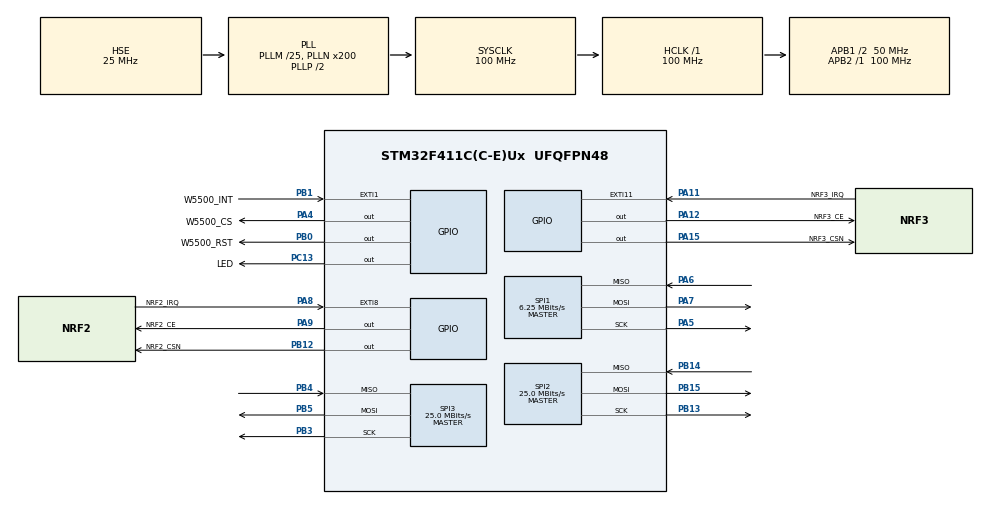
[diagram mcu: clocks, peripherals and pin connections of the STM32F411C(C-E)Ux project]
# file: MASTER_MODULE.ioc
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Mcu.Family=STM32F4
Mcu.Name=STM32F411C(C-E)Ux
Mcu.Package=UFQFPN48
NVIC.EXTI1_IRQn=true\:0\:0\:false\:false\:true\:true\:true\:true
NVIC.PriorityGroup=NVIC_PRIORITYGROUP_4
NVIC.TIM2_IRQn=true\:0\:0\:false\:false\:true\:true\:true\:true
PA11.GPIO_Label=NRF3_IRQ
PA11.GPIO_ModeDefaultEXTI=GPIO_MODE_IT_FALLING
PA11.Signal=GPXTI11
PA12.GPIO_Label=NRF3_CE
PA12.GPIO_Speed=GPIO_SPEED_FREQ_HIGH
PA12.Signal=GPIO_Output
PA13.Mode=Serial_Wire
PA13.Signal=SYS_JTMS-SWDIO
PA14.Mode=Serial_Wire
PA14.Signal=SYS_JTCK-SWCLK
PA15.GPIO_Label=NRF3_CSN
PA15.PinState=GPIO_PIN_SET
PA15.Signal=GPIO_Output
PA4.GPIO_Label=W5500_CS
PA4.GPIO_Speed=GPIO_SPEED_FREQ_VERY_HIGH
PA4.PinState=GPIO_PIN_SET
PA4.Signal=GPIO_Output
PA5.Mode=Full_Duplex_Master
PA5.Signal=SPI1_SCK
PA6.Mode=Full_Duplex_Master
PA6.Signal=SPI1_MISO
PA7.Mode=Full_Duplex_Master
PA7.Signal=SPI1_MOSI
PA8.GPIO_Label=NRF2_IRQ
PA8.GPIO_ModeDefaultEXTI=GPIO_MODE_IT_FALLING
PA8.Signal=GPXTI8
PA9.GPIO_Label=NRF2_CE
PA9.GPIO_Speed=GPIO_SPEED_FREQ_HIGH
PA9.PinState=GPIO_PIN_RESET
PA9.Signal=GPIO_Output
PB0.GPIO_Label=W5500_RST
PB0.PinState=GPIO_PIN_SET
PB0.Signal=GPIO_Output
PB1.GPIO_Label=W5500_INT
PB1.GPIO_ModeDefaultEXTI=GPIO_MODE_IT_FALLING
PB1.GPIO_PuPd=GPIO_PULLUP
PB1.Signal=GPXTI1
PB12.GPIO_Label=NRF2_CSN
PB12.GPIO_Speed=GPIO_SPEED_FREQ_HIGH
PB12.Signal=GPIO_Output
PB13.Mode=Full_Duplex_Master
PB13.Signal=SPI2_SCK
PB14.Mode=Full_Duplex_Master
PB14.Signal=SPI2_MISO
PB15.Mode=Full_Duplex_Master
PB15.Signal=SPI2_MOSI
PB3.Mode=Full_Duplex_Master
PB3.Signal=SPI3_SCK
PB4.Mode=Full_Duplex_Master
PB4.Signal=SPI3_MISO
PB5.Mode=Full_Duplex_Master
PB5.Signal=SPI3_MOSI
PC13-ANTI_TAMP.GPIO_Label=LED
PC13-ANTI_TAMP.PinState=GPIO_PIN_SET
PC13-ANTI_TAMP.Signal=GPIO_Output
PH0\ -\ OSC_IN.Mode=HSE-External-Oscillator
PH0\ -\ OSC_IN.Signal=RCC_OSC_IN
PH1\ -\ OSC_OUT.Mode=HSE-External-Oscillator
PH1\ -\ OSC_OUT.Signal=RCC_OSC_OUT
ProjectManager.HeapSize=0x200
ProjectManager.StackSize=0x400
ProjectManager.TargetToolchain=STM32CubeIDE
RCC.48MHZClocksFreq_Value=50000000
RCC.AHBFreq_Value=100000000
RCC.APB1CLKDivider=RCC_HCLK_DIV2
RCC.APB1Freq_Value=50000000
RCC.APB1TimFreq_Value=100000000
RCC.APB2Freq_Value=100000000
RCC.APB2TimFreq_Value=100000000
RCC.CortexFreq_Value=100000000
RCC.HCLKFreq_Value=100000000
RCC.HSE_VALUE=25000000
RCC.HSI_VALUE=16000000
RCC.LSE_VALUE=32768
RCC.PLLI2SM=25
RCC.PLLM=25
RCC.PLLN=200
RCC.PLLSourceVirtual=RCC_PLLSOURCE_HSE
RCC.SYSCLKFreq_VALUE=100000000
RCC.SYSCLKSource=RCC_SYSCLKSOURCE_PLLCLK
RCC.VCOOutputFreq_Value=200000000
SPI1.BaudRatePrescaler=SPI_BAUDRATEPRESCALER_16
SPI1.CalculateBaudRate=6.25 MBits/s
SPI1.Direction=SPI_DIRECTION_2LINES
SPI1.Mode=SPI_MODE_MASTER
SPI1.VirtualType=VM_MASTER
SPI2.BaudRatePrescaler=SPI_BAUDRATEPRESCALER_2
SPI2.CalculateBaudRate=25.0 MBits/s
SPI2.Direction=SPI_DIRECTION_2LINES
SPI2.Mode=SPI_MODE_MASTER
SPI2.VirtualType=VM_MASTER
SPI3.BaudRatePrescaler=SPI_BAUDRATEPRESCALER_2
SPI3.CalculateBaudRate=25.0 MBits/s
SPI3.Direction=SPI_DIRECTION_2LINES
SPI3.Mode=SPI_MODE_MASTER
SPI3.VirtualType=VM_MASTER
TIM2.Prescaler=99
VP_TIM2_VS_ClockSourceINT.Mode=Internal
board=custom

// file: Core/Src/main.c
/* USER CODE BEGIN Header */
/**
  ******************************************************************************
  * @file           : main.c
  * @brief          : Main program body
  ******************************************************************************
  * @attention
  *
  * Copyright (c) 2026 STMicroelectronics.
  * All rights reserved.
  *
  * This software is licensed under terms that can be found in the LICENSE file
  * in the root directory of this software component.
  * If no LICENSE file comes with this software, it is provided AS-IS.
  *
  ******************************************************************************
  */
/* USER CODE END Header */
#include "main.h"
#include "spi.h"
#include "tim.h"
#include "gpio.h"

/* USER CODE BEGIN Includes */
#include "w5500_port.h"
#include "master_radio.h"
/* USER CODE END Includes */

/* USER CODE BEGIN PV */
static uint32_t g_last_test_send_ms = 0U;
static w5500_port_status_t g_w5500_status = W5500_PORT_OK;
/* USER CODE END PV */

void SystemClock_Config(void);

int main(void)
{

  /* MCU Configuration--------------------------------------------------------*/

  /* Reset of all peripherals, Initializes the Flash interface and the Systick. */
  HAL_Init();

  /* Configure the system clock */
  SystemClock_Config();

  /* Initialize all configured peripherals */
  MX_GPIO_Init();
  MX_SPI2_Init();
  MX_SPI3_Init();
  MX_TIM2_Init();
  MX_SPI1_Init();
  /* USER CODE BEGIN 2 */
  if (HAL_TIM_Base_Start_IT(&htim2) != HAL_OK)
  {
    Error_Handler();
  }

  g_w5500_status = W5500_Init();
  if (g_w5500_status != W5500_PORT_OK)
  {
    //Error_Handler();
	HAL_GPIO_TogglePin(LED_GPIO_Port, LED_Pin);
  }

  MasterRadio_Init();
  //g_last_test_send_ms = HAL_GetTick();
  /* USER CODE END 2 */

  /* Infinite loop */
  while (1)
  {

    /* USER CODE BEGIN 3 */
    W5500_Service();
    MasterRadio_Service();

    /*if ((HAL_GetTick() - g_last_test_send_ms) >= 1000U)
    {
      g_last_test_send_ms = HAL_GetTick();
      HAL_GPIO_TogglePin(LED_GPIO_Port, LED_Pin);
    }*/
  }
  /* USER CODE END 3 */
}

void SystemClock_Config(void)
{
  RCC_OscInitTypeDef RCC_OscInitStruct = {0};
  RCC_ClkInitTypeDef RCC_ClkInitStruct = {0};

  /** Configure the main internal regulator output voltage
  */
  __HAL_RCC_PWR_CLK_ENABLE();
  __HAL_PWR_VOLTAGESCALING_CONFIG(PWR_REGULATOR_VOLTAGE_SCALE1);

  /** Initializes the RCC Oscillators according to the specified parameters
  * in the RCC_OscInitTypeDef structure.
  */
  RCC_OscInitStruct.OscillatorType = RCC_OSCILLATORTYPE_HSE;
  RCC_OscInitStruct.HSEState = RCC_HSE_ON;
  RCC_OscInitStruct.PLL.PLLState = RCC_PLL_ON;
  RCC_OscInitStruct.PLL.PLLSource = RCC_PLLSOURCE_HSE;
  RCC_OscInitStruct.PLL.PLLM = 25;
  RCC_OscInitStruct.PLL.PLLN = 200;
  RCC_OscInitStruct.PLL.PLLP = RCC_PLLP_DIV2;
  RCC_OscInitStruct.PLL.PLLQ = 4;
  if (HAL_RCC_OscConfig(&RCC_OscInitStruct) != HAL_OK)
  {
    Error_Handler();
  }

  /** Initializes the CPU, AHB and APB buses clocks
  */
  RCC_ClkInitStruct.ClockType = RCC_CLOCKTYPE_HCLK|RCC_CLOCKTYPE_SYSCLK
                              |RCC_CLOCKTYPE_PCLK1|RCC_CLOCKTYPE_PCLK2;
  RCC_ClkInitStruct.SYSCLKSource = RCC_SYSCLKSOURCE_PLLCLK;
  RCC_ClkInitStruct.AHBCLKDivider = RCC_SYSCLK_DIV1;
  RCC_ClkInitStruct.APB1CLKDivider = RCC_HCLK_DIV2;
  RCC_ClkInitStruct.APB2CLKDivider = RCC_HCLK_DIV1;

  if (HAL_RCC_ClockConfig(&RCC_ClkInitStruct, FLASH_LATENCY_3) != HAL_OK)
  {
    Error_Handler();
  }
}

/* USER CODE BEGIN 4 */
void HAL_TIM_PeriodElapsedCallback(TIM_HandleTypeDef *htim)
{
  MasterRadio_OnTimerPeriodElapsed(htim);
}

void HAL_GPIO_EXTI_Callback(uint16_t GPIO_Pin)
{
  if (GPIO_Pin == W5500_INT_Pin)
  {
    W5500_SetInterruptFlag();
  }
  else
  {
    MasterRadio_OnExti(GPIO_Pin);
  }
}
/* USER CODE END 4 */

void Error_Handler(void)
{
  __disable_irq();
  while (1)
  {
  }
}
